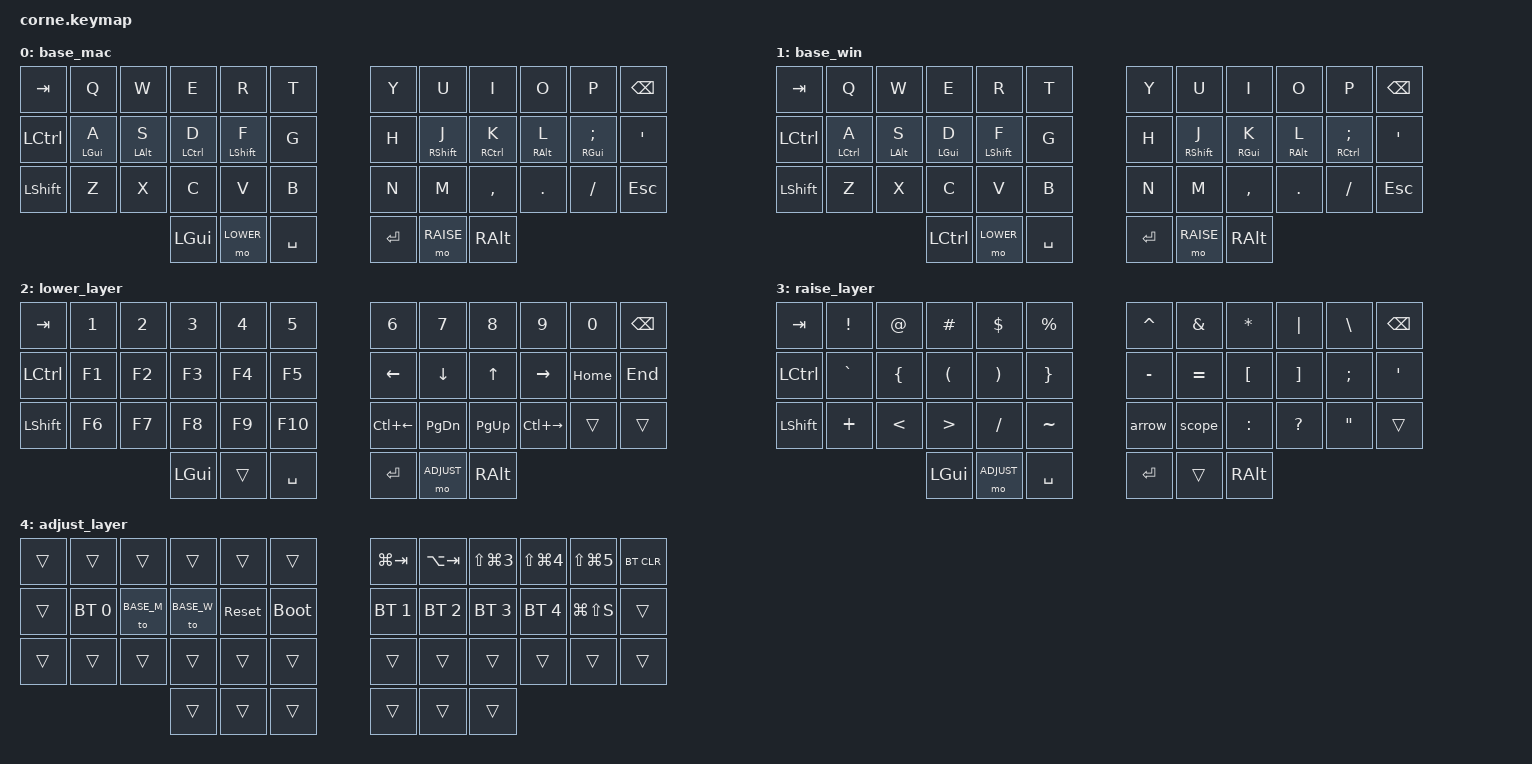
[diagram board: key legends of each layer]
/*
 * Corne keymap — SDE profile v3
 * Mac + Windows, Vim, C++, 2-thumb friendly
 */

#include <behaviors.dtsi>
#include <dt-bindings/zmk/bt.h>
#include <dt-bindings/zmk/keys.h>

#define BASE_M 0
#define BASE_W 1
#define LOWER  2
#define RAISE  3
#define ADJUST 4
#define KEYS_L 0 1 2 3 4 5 12 13 14 15 16 17 24 25 26 27 28 29
#define KEYS_R 6 7 8 9 10 11 18 19 20 21 22 23 30 31 32 33 34 35
#define THUMBS 36 37 38 39 40 41

/ {
    behaviors {
        hml: home_row_mod_left {
            compatible = "zmk,behavior-hold-tap";
            #binding-cells = <2>;
            tapping-term-ms = <200>;
            quick-tap-ms = <175>;
            require-prior-idle-ms = <150>;
            flavor = "balanced";
            bindings = <&kp>, <&kp>;
            hold-trigger-key-positions = <KEYS_R THUMBS>;
            hold-trigger-on-release;
        };

        hmr: home_row_mod_right {
            compatible = "zmk,behavior-hold-tap";
            #binding-cells = <2>;
            tapping-term-ms = <200>;
            quick-tap-ms = <175>;
            require-prior-idle-ms = <150>;
            flavor = "balanced";
            bindings = <&kp>, <&kp>;
            hold-trigger-key-positions = <KEYS_L THUMBS>;
            hold-trigger-on-release;
        };
    };

    macros {
        arrow: arrow {
            compatible = "zmk,behavior-macro";
            #binding-cells = <0>;
            wait-ms = <0>;
            tap-ms = <5>;
            bindings = <&kp MINUS &kp GT>;
        };

        scope: scope {
            compatible = "zmk,behavior-macro";
            #binding-cells = <0>;
            wait-ms = <0>;
            tap-ms = <5>;
            bindings = <&kp COLON &kp COLON>;
        };

        parens: parens {
            compatible = "zmk,behavior-macro";
            #binding-cells = <0>;
            wait-ms = <0>;
            tap-ms = <5>;
            bindings = <&kp LPAR &kp RPAR &kp LEFT>;
        };

        brackets: brackets {
            compatible = "zmk,behavior-macro";
            #binding-cells = <0>;
            wait-ms = <0>;
            tap-ms = <5>;
            bindings = <&kp LBKT &kp RBKT &kp LEFT>;
        };

        braces: braces {
            compatible = "zmk,behavior-macro";
            #binding-cells = <0>;
            wait-ms = <0>;
            tap-ms = <5>;
            bindings = <&kp LBRC &kp RBRC &kp LEFT>;
        };

        angles: angles {
            compatible = "zmk,behavior-macro";
            #binding-cells = <0>;
            wait-ms = <0>;
            tap-ms = <5>;
            bindings = <&kp LT &kp GT &kp LEFT>;
        };
    };

    combos {
        compatible = "zmk,combos";

        combo_esc {
            timeout-ms = <40>;
            key-positions = <19 20>;
            bindings = <&kp ESC>;
        };
        combo_tab {
            timeout-ms = <40>;
            key-positions = <15 16>;
            bindings = <&kp TAB>;
        };
        combo_semi {
            timeout-ms = <40>;
            key-positions = <32 33>;
            bindings = <&kp SEMI>;
        };
        combo_parens {
            timeout-ms = <40>;
            key-positions = <27 28>;
            bindings = <&parens>;
        };
        combo_brackets {
            timeout-ms = <40>;
            key-positions = <26 27>;
            bindings = <&brackets>;
        };
        combo_braces {
            timeout-ms = <40>;
            key-positions = <25 26>;
            bindings = <&braces>;
        };
        combo_angles {
            timeout-ms = <40>;
            key-positions = <30 31>;
            bindings = <&angles>;
        };
        combo_ss_region {
            timeout-ms = <40>;
            key-positions = <1 2>;
            bindings = <&kp LS(LG(N4))>;
        };
    };

    keymap {
        compatible = "zmk,keymap";

        base_mac {
            bindings = <
&kp TAB    &kp Q        &kp W        &kp E         &kp R         &kp T        &kp Y    &kp U         &kp I         &kp O        &kp P           &kp BSPC
&kp LCTRL  &hml LGUI A  &hml LALT S  &hml LCTRL D  &hml LSHFT F  &kp G        &kp H    &hmr RSHFT J  &hmr RCTRL K  &hmr RALT L  &hmr RGUI SEMI  &kp SQT
&kp LSHFT  &kp Z        &kp X        &kp C         &kp V         &kp B        &kp N    &kp M         &kp COMMA     &kp DOT      &kp FSLH        &kp ESC
                                     &kp LGUI      &mo LOWER     &kp SPACE    &kp RET  &mo RAISE     &kp RALT
            >;
        };

        base_win {
            bindings = <
&kp TAB    &kp Q         &kp W        &kp E        &kp R         &kp T        &kp Y    &kp U         &kp I        &kp O        &kp P            &kp BSPC
&kp LCTRL  &hml LCTRL A  &hml LALT S  &hml LGUI D  &hml LSHFT F  &kp G        &kp H    &hmr RSHFT J  &hmr RGUI K  &hmr RALT L  &hmr RCTRL SEMI  &kp SQT
&kp LSHFT  &kp Z         &kp X        &kp C        &kp V         &kp B        &kp N    &kp M         &kp COMMA    &kp DOT      &kp FSLH         &kp ESC
                                      &kp LCTRL    &mo LOWER     &kp SPACE    &kp RET  &mo RAISE     &kp RALT
            >;
        };

        lower_layer {
            bindings = <
&kp TAB    &kp N1  &kp N2  &kp N3    &kp N4  &kp N5       &kp N6        &kp N7      &kp N8     &kp N9         &kp N0    &kp BSPC
&kp LCTRL  &kp F1  &kp F2  &kp F3    &kp F4  &kp F5       &kp LEFT      &kp DOWN    &kp UP     &kp RIGHT      &kp HOME  &kp END
&kp LSHFT  &kp F6  &kp F7  &kp F8    &kp F9  &kp F10      &kp LC(LEFT)  &kp PG_DN   &kp PG_UP  &kp LC(RIGHT)  &trans    &trans
                           &kp LGUI  &trans  &kp SPACE    &kp RET       &mo ADJUST  &kp RALT
            >;
        };

        raise_layer {
            bindings = <
&kp TAB    &kp EXCL   &kp AT    &kp HASH  &kp DLLR    &kp PRCNT    &kp CARET  &kp AMPS   &kp ASTRK  &kp PIPE   &kp BSLH  &kp BSPC
&kp LCTRL  &kp GRAVE  &kp LBRC  &kp LPAR  &kp RPAR    &kp RBRC     &kp MINUS  &kp EQUAL  &kp LBKT   &kp RBKT   &kp SEMI  &kp SQT
&kp LSHFT  &kp PLUS   &kp LT    &kp GT    &kp FSLH    &kp TILDE    &arrow     &scope     &kp COLON  &kp QMARK  &kp DQT   &trans
                                &kp LGUI  &mo ADJUST  &kp SPACE    &kp RET    &trans     &kp RALT
            >;
        };

        adjust_layer {
            bindings = <
&trans  &trans        &trans      &trans      &trans      &trans         &kp LG(TAB)   &kp LA(TAB)   &kp LS(LG(N3))  &kp LS(LG(N4))  &kp LS(LG(N5))  &bt BT_CLR
&trans  &bt BT_SEL 0  &to BASE_M  &to BASE_W  &sys_reset  &bootloader    &bt BT_SEL 1  &bt BT_SEL 2  &bt BT_SEL 3    &bt BT_SEL 4    &kp LG(LS(S))   &trans
&trans  &trans        &trans      &trans      &trans      &trans         &trans        &trans        &trans          &trans          &trans          &trans
                                  &trans      &trans      &trans         &trans        &trans        &trans
            >;
        };
    };
};
